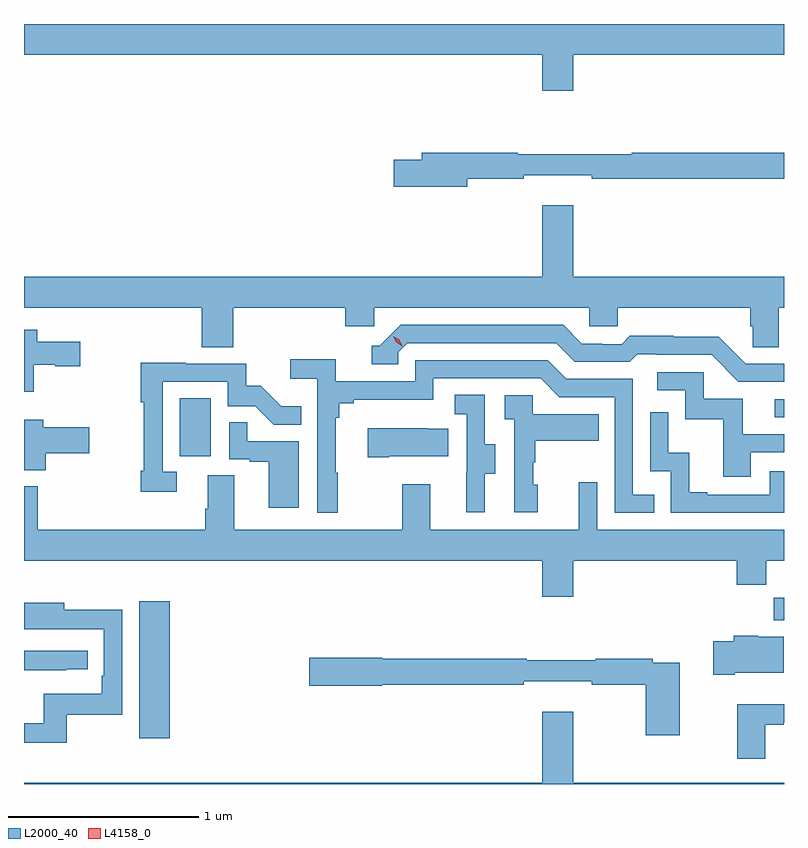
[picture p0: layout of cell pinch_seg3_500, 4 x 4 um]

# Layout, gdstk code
import gdstk
lib = gdstk.Library(unit=1e-6, precision=1e-09)
def R(c, l, rs):  # rectangles x0, y0, x1, y1
    for r in rs: c.add(gdstk.rectangle(r[:2], r[2:], *l))
def P(c, l, *ps):  # polygons
    for p in ps: c.add(gdstk.Polygon(p, *l))
L2000_40 = (2000, 40)
L4158_0 = (4158, 0)

pinch_seg3_500 = lib.new_cell('pinch_seg3_500')
R(pinch_seg3_500, L2000_40, [(978.071,666.684,978.232,667.405), (981.412,667.304,981.465,667.422), (978.284,668.166,978.448,668.473), (981.417,668.373,981.465,668.466)])
P(pinch_seg3_500, L2000_40, [(980.356,670.28),(981.465,670.28),(981.465,670.442),(977.465,670.442),(977.465,670.28),(980.192,670.28),(980.192,670.092),(980.356,670.092)],
  [(979.798,669.628),(980.096,669.628),(980.096,669.647),(980.452,669.647),(980.452,669.628),(981.465,669.628),(981.465,669.764),(980.663,669.764),(980.663,669.757),(980.063,669.757),(980.063,669.764),(979.559,669.764),(979.559,669.728),(979.41,669.728),(979.41,669.586),(979.798,669.586)],
  [(978.566,668.948),(979.157,668.948),(979.157,668.85),(979.308,668.85),(979.308,668.948),(980.439,668.948),(980.439,668.85),(980.589,668.85),(980.589,668.948),(981.287,668.948),(981.287,668.85),(981.301,668.85),(981.301,668.74),(981.438,668.74),(981.438,668.948),(981.465,668.948),(981.465,669.112),(980.356,669.112),(980.356,669.487),(980.192,669.487),(980.192,669.112),(977.465,669.112),(977.465,668.948),(978.401,668.948),(978.401,668.74),(978.566,668.74)],
  [(981.465,668.655),(981.264,668.655),(981.122,668.797),(980.886,668.797),(980.886,668.8),(980.653,668.8),(980.611,668.757),(980.508,668.757),(980.508,668.76),(980.401,668.76),(980.302,668.859),(979.449,668.859),(979.338,668.748),(979.295,668.748),(979.295,668.652),(979.434,668.652),(979.434,668.715),(979.482,668.763),(980.265,668.763),(980.364,668.664),(980.653,668.664),(980.692,668.703),(980.791,668.703),(980.791,668.7),(981.084,668.7),(981.225,668.559),(981.465,668.559)],
  [(977.515,668.648),(977.63,668.648),(977.63,668.641),(977.761,668.641),(977.761,668.77),(977.534,668.77),(977.534,668.833),(977.465,668.833),(977.465,668.507),(977.515,668.507)],
  [(979.117,668.081),(979.105,668.081),(979.105,668.369),(979.124,668.369),(979.124,668.446),(979.201,668.446),(979.201,668.465),(979.62,668.465),(979.62,668.577),(980.184,668.577),(980.283,668.478),(980.574,668.478),(980.574,667.869),(980.783,667.869),(980.783,667.965),(980.67,667.965),(980.67,668.574),(980.32,668.574),(980.221,668.673),(979.524,668.673),(979.524,668.562),(979.106,668.562),(979.106,668.678),(978.867,668.678),(978.867,668.576),(979.008,668.576),(979.008,667.869),(979.117,667.869)],
  [(978.268,668.085),(978.195,668.085),(978.195,668.559),(978.537,668.559),(978.537,668.43),(978.681,668.43),(978.779,668.332),(978.923,668.332),(978.923,668.431),(978.819,668.431),(978.712,668.538),(978.636,668.538),(978.636,668.655),(978.317,668.655),(978.317,668.66),(978.079,668.66),(978.079,668.452),(978.094,668.452),(978.094,668.092),(978.079,668.092),(978.079,667.98),(978.268,667.98)],
  [(981.289,668.187),(981.465,668.187),(981.465,668.283),(981.247,668.283),(981.247,668.469),(981.042,668.469),(981.042,668.61),(980.799,668.61),(980.799,668.514),(980.946,668.514),(980.946,668.361),(981.145,668.361),(981.145,668.058),(981.289,668.058)],
  [(979.891,668.074),(979.945,668.074),(979.945,668.229),(979.89,668.229),(979.89,668.492),(979.731,668.492),(979.731,668.389),(979.794,668.389),(979.794,668.085),(979.793,668.085),(979.793,667.872),(979.891,667.872)],
  [(980.17,668.016),(980.145,668.016),(980.145,668.135),(980.155,668.135),(980.155,668.249),(980.489,668.249),(980.489,668.389),(980.142,668.389),(980.142,668.487),(979.995,668.487),(979.995,668.363),(980.046,668.363),(980.046,667.872),(980.17,667.872)],
  [(981.465,668.088),(981.39,668.088),(981.39,667.965),(981.061,667.965),(981.061,667.978),(980.966,667.978),(980.966,668.186),(980.856,668.186),(980.856,668.398),(980.76,668.398),(980.76,668.088),(980.868,668.088),(980.868,667.869),(981.465,667.869)],
  [(977.579,668.182),(977.809,668.182),(977.809,668.319),(977.566,668.319),(977.566,668.359),(977.465,668.359),(977.465,668.093),(977.579,668.093)],
  [(978.91,668.247),(978.641,668.247),(978.641,668.345),(978.546,668.345),(978.546,668.151),(978.653,668.151),(978.653,668.139),(978.752,668.139),(978.752,667.896),(978.91,667.896)],
  [(979.387,668.168),(979.697,668.168),(979.697,668.311),(979.589,668.311),(979.589,668.314),(979.275,668.314),(979.275,668.161),(979.387,668.161)],
  [(980.356,667.616),(981.215,667.616),(981.215,667.492),(981.371,667.492),(981.371,667.616),(981.465,667.616),(981.465,667.78),(980.481,667.78),(980.481,668.029),(980.384,668.029),(980.384,667.78),(979.603,667.78),(979.603,668.02),(979.456,668.02),(979.456,667.78),(978.571,667.78),(978.571,668.066),(978.431,668.066),(978.431,667.892),(978.419,667.892),(978.419,667.78),(977.537,667.78),(977.537,668.008),(977.465,668.008),(977.465,667.616),(980.192,667.616),(980.192,667.428),(980.356,667.428)],
  [(977.689,666.807),(977.982,666.807),(977.982,667.358),(977.677,667.358),(977.677,667.396),(977.465,667.396),(977.465,667.256),(977.573,667.256),(977.573,667.257),(977.886,667.257),(977.886,667.012),(977.873,667.012),(977.873,666.916),(977.568,666.916),(977.568,666.761),(977.465,666.761),(977.465,666.66),(977.689,666.66)],
  [(981.205,667.028),(981.463,667.028),(981.463,667.216),(981.33,667.216),(981.33,667.222),(981.2,667.222),(981.2,667.194),(981.093,667.194),(981.093,667.016),(981.205,667.016)],
  [(977.687,667.047),(977.8,667.047),(977.8,667.143),(977.465,667.143),(977.465,667.042),(977.687,667.042)],
  [(980.916,667.08),(980.774,667.08),(980.774,667.1),(980.474,667.1),(980.474,667.093),(980.112,667.093),(980.112,667.1),(979.35,667.1),(979.35,667.106),(978.966,667.106),(978.966,666.959),(979.35,666.959),(979.35,666.964),(980.096,666.964),(980.096,666.983),(980.452,666.983),(980.452,666.964),(980.738,666.964),(980.738,666.699),(980.916,666.699)],
  [(981.367,666.753),(981.463,666.753),(981.463,666.765),(981.465,666.765),(981.465,666.862),(981.22,666.862),(981.22,666.576),(981.367,666.576)],
  [(981.465,666.448),(980.356,666.448),(980.356,666.823),(980.192,666.823),(980.192,666.448),(977.465,666.448),(977.465,666.442),(981.465,666.442)])
P(pinch_seg3_500, L4158_0, [(979.455,668.746),(979.424,668.766),(979.408,668.798),(979.408,668.799),(979.408,668.799),(979.439,668.779),(979.456,668.747),(979.456,668.746)])

lib.write_gds('pinch_seg3_500.gds')
